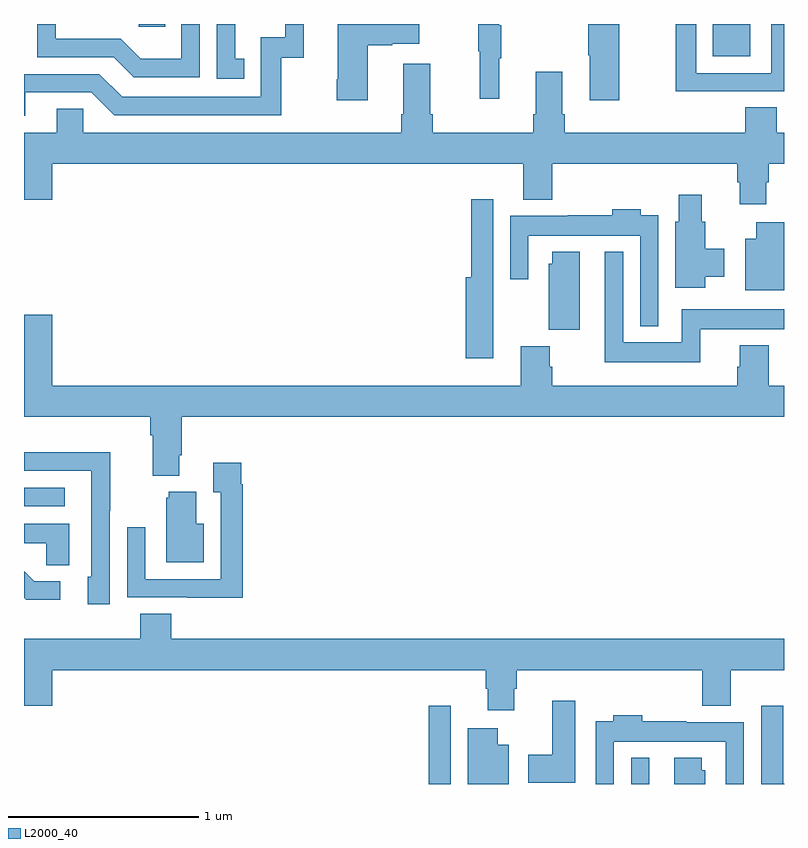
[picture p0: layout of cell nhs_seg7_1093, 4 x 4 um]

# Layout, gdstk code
import gdstk
lib = gdstk.Library(unit=1e-6, precision=1e-09)
def R(c, l, rs):  # rectangles x0, y0, x1, y1
    for r in rs: c.add(gdstk.rectangle(r[:2], r[2:], *l))
def P(c, l, *ps):  # polygons
    for p in ps: c.add(gdstk.Polygon(p, *l))
L2000_40 = (2000, 40)

nhs_seg7_1093 = lib.new_cell('nhs_seg7_1093')
R(nhs_seg7_1093, L2000_40, [(191.131,1016,191.247,1016.413), (192.195,1016,192.292,1016.137), (189,1017.462,189.214,1017.558), (192.626,1019.831,192.823,1020), (189.603,1019.985,189.743,1020)])
P(nhs_seg7_1093, L2000_40, [(192.713,1019.646),(193,1019.646),(193,1020),(192.933,1020),(192.933,1019.742),(192.537,1019.742),(192.537,1020),(192.429,1020),(192.429,1019.645),(192.713,1019.645)],
  [(189.007,1019.64),(189.354,1019.64),(189.474,1019.52),(190.354,1019.52),(190.354,1019.823),(190.472,1019.823),(190.472,1020),(190.374,1020),(190.374,1019.931),(190.245,1019.931),(190.245,1019.616),(189.516,1019.616),(189.396,1019.736),(189,1019.736),(189,1019.517),(189.007,1019.517)],
  [(189.924,1020),(189.828,1020),(189.828,1019.818),(189.614,1019.818),(189.51,1019.922),(189.168,1019.922),(189.168,1020),(189.07,1020),(189.07,1019.826),(189.473,1019.826),(189.578,1019.721),(189.924,1019.721)],
  [(190.16,1019.817),(190.111,1019.817),(190.111,1020),(190.014,1020),(190.014,1019.712),(190.16,1019.712)],
  [(191.501,1019.819),(191.512,1019.819),(191.512,1019.993),(191.501,1019.993),(191.501,1020),(191.391,1020),(191.391,1019.856),(191.398,1019.856),(191.398,1019.607),(191.501,1019.607)],
  [(190.81,1019.887),(190.937,1019.887),(190.937,1019.897),(191.08,1019.897),(191.08,1020),(190.652,1020),(190.652,1019.71),(190.645,1019.71),(190.645,1019.598),(190.81,1019.598)],
  [(192.132,1020),(191.971,1020),(191.971,1019.836),(191.978,1019.836),(191.978,1019.598),(192.132,1019.598)],
  [(192.907,1019.166),(192.92,1019.166),(192.92,1019.264),(193,1019.264),(193,1019.428),(192.962,1019.428),(192.962,1019.561),(192.797,1019.561),(192.797,1019.428),(191.846,1019.428),(191.846,1019.524),(191.833,1019.524),(191.833,1019.749),(191.693,1019.749),(191.693,1019.524),(191.681,1019.524),(191.681,1019.428),(191.15,1019.428),(191.15,1019.524),(191.137,1019.524),(191.137,1019.791),(190.997,1019.791),(190.997,1019.524),(190.985,1019.524),(190.985,1019.428),(189.312,1019.428),(189.312,1019.555),(189.173,1019.555),(189.173,1019.428),(189,1019.428),(189,1019.076),(189.148,1019.076),(189.148,1019.264),(191.627,1019.264),(191.627,1019.075),(191.78,1019.075),(191.78,1019.264),(192.755,1019.264),(192.755,1019.166),(192.767,1019.166),(192.767,1019.052),(192.907,1019.052)],
  [(192.586,1018.67),(192.685,1018.67),(192.685,1018.818),(192.586,1018.818),(192.586,1018.959),(192.568,1018.959),(192.568,1019.101),(192.446,1019.101),(192.446,1018.959),(192.428,1018.959),(192.428,1018.611),(192.586,1018.611)],
  [(191.47,1018.562),(191.469,1018.562),(191.469,1019.077),(191.353,1019.077),(191.353,1018.666),(191.324,1018.666),(191.324,1018.242),(191.47,1018.242)],
  [(192.339,1018.993),(192.247,1018.993),(192.247,1019.026),(192.095,1019.026),(192.095,1018.993),(191.863,1018.993),(191.863,1018.99),(191.559,1018.99),(191.559,1018.656),(191.655,1018.656),(191.655,1018.886),(192.243,1018.886),(192.243,1018.409),(192.339,1018.409)],
  [(193,1018.957),(192.854,1018.957),(192.854,1018.87),(192.797,1018.87),(192.797,1018.598),(193,1018.598)],
  [(192.56,1018.394),(193,1018.394),(193,1018.498),(192.462,1018.498),(192.462,1018.324),(192.153,1018.324),(192.153,1018.801),(192.056,1018.801),(192.056,1018.22),(192.56,1018.22)],
  [(191.926,1018.801),(191.78,1018.801),(191.78,1018.737),(191.762,1018.737),(191.762,1018.39),(191.926,1018.39)],
  [(189.817,1017.73),(189.83,1017.73),(189.83,1017.932),(193,1017.932),(193,1018.096),(192.92,1018.096),(192.92,1018.309),(192.767,1018.309),(192.767,1018.197),(192.755,1018.197),(192.755,1018.096),(191.78,1018.096),(191.78,1018.196),(191.767,1018.196),(191.767,1018.305),(191.615,1018.305),(191.615,1018.096),(189.148,1018.096),(189.148,1018.471),(189,1018.471),(189,1017.932),(189.665,1017.932),(189.665,1017.836),(189.677,1017.836),(189.677,1017.623),(189.817,1017.623)],
  [(189.45,1017.439),(189.453,1017.439),(189.453,1017.746),(189,1017.746),(189,1017.648),(189.354,1017.648),(189.354,1017.09),(189.335,1017.09),(189.335,1016.946),(189.45,1016.946)],
  [(190.151,1017.578),(190.144,1017.578),(190.144,1017.691),(189.995,1017.691),(189.995,1017.535),(190.035,1017.535),(190.035,1017.078),(189.639,1017.078),(189.639,1017.352),(189.543,1017.352),(189.543,1016.982),(189.859,1016.982),(189.859,1016.981),(190.151,1016.981)],
  [(189.946,1017.37),(189.907,1017.37),(189.907,1017.538),(189.761,1017.538),(189.761,1017.507),(189.749,1017.507),(189.749,1017.167),(189.946,1017.167)],
  [(189.238,1017.37),(189,1017.37),(189,1017.266),(189.117,1017.266),(189.117,1017.151),(189.238,1017.151)],
  [(189.19,1017.066),(189.055,1017.066),(189,1017.121),(189,1016.98),(189.011,1016.969),(189.19,1016.969)],
  [(191.581,1016.502),(191.594,1016.502),(191.594,1016.6),(192.569,1016.6),(192.569,1016.411),(192.721,1016.411),(192.721,1016.6),(193,1016.6),(193,1016.764),(189.776,1016.764),(189.776,1016.897),(189.611,1016.897),(189.611,1016.764),(189,1016.764),(189,1016.412),(189.148,1016.412),(189.148,1016.6),(191.429,1016.6),(191.429,1016.502),(191.441,1016.502),(191.441,1016.388),(191.581,1016.388)],
  [(191.902,1016.437),(191.78,1016.437),(191.78,1016.154),(191.655,1016.154),(191.655,1016.006),(191.902,1016.006)],
  [(193,1016.002),(192.995,1016.002),(192.995,1016.413),(192.879,1016.413),(192.879,1016),(193,1016)],
  [(192.105,1016.222),(192.693,1016.222),(192.693,1016),(192.789,1016),(192.789,1016.326),(192.485,1016.326),(192.485,1016.329),(192.254,1016.329),(192.254,1016.362),(192.101,1016.362),(192.101,1016.329),(192.009,1016.329),(192.009,1016),(192.105,1016)],
  [(191.551,1016.206),(191.494,1016.206),(191.494,1016.293),(191.336,1016.293),(191.336,1016),(191.551,1016)],
  [(192.586,1016.073),(192.568,1016.073),(192.568,1016.137),(192.422,1016.137),(192.422,1016),(192.586,1016)])

lib.write_gds('nhs_seg7_1093.gds')
